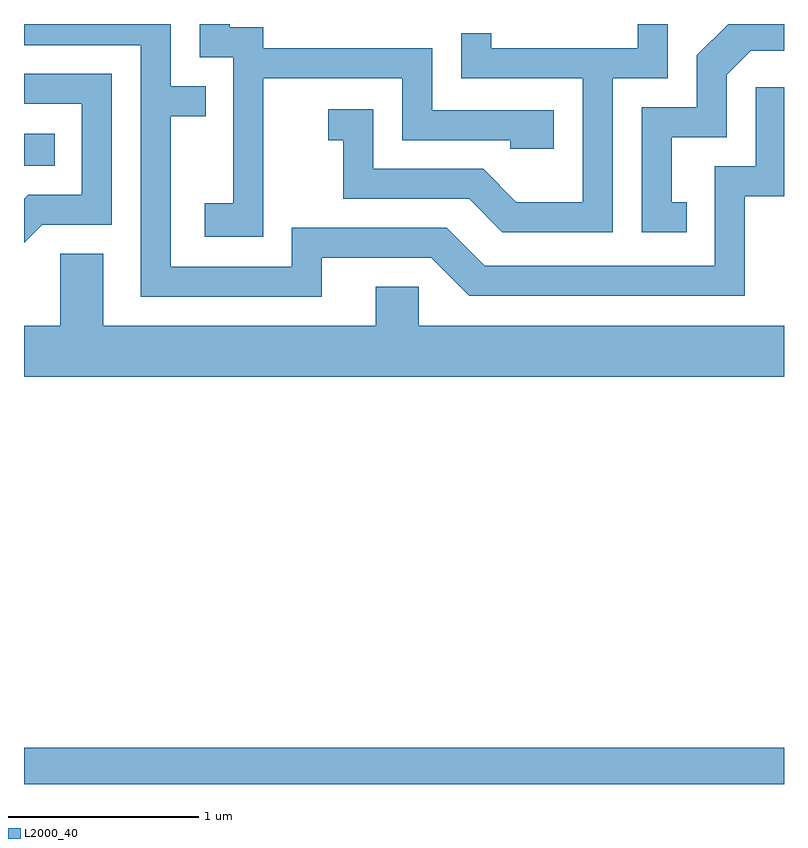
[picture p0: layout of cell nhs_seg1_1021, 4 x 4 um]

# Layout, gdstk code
import gdstk
lib = gdstk.Library(unit=1e-6, precision=1e-09)
def R(c, l, rs):  # rectangles x0, y0, x1, y1
    for r in rs: c.add(gdstk.rectangle(r[:2], r[2:], *l))
def P(c, l, *ps):  # polygons
    for p in ps: c.add(gdstk.Polygon(p, *l))
L2000_40 = (2000, 40)

nhs_seg1_1021 = lib.new_cell('nhs_seg1_1021')
R(nhs_seg1_1021, L2000_40, [(217.611,839.712,221.611,839.904), (217.611,842.966,217.773,843.134)])
P(nhs_seg1_1021, L2000_40, [(218.869,843.426),(219.601,843.426),(219.601,843.101),(220.171,843.101),(220.171,843.056),(220.399,843.056),(220.399,843.259),(219.759,843.259),(219.759,843.584),(218.869,843.584),(218.869,843.694),(218.694,843.694),(218.694,843.712),(218.536,843.712),(218.536,843.536),(218.711,843.536),(218.711,842.769),(218.561,842.769),(218.561,842.591),(218.869,842.591)],
  [(221.098,842.774),(221.019,842.774),(221.019,843.116),(221.309,843.116),(221.309,843.444),(221.437,843.571),(221.611,843.571),(221.611,843.712),(221.317,843.712),(221.151,843.547),(221.151,843.274),(220.861,843.274),(220.861,842.616),(221.098,842.616)],
  [(220.709,843.426),(220.999,843.426),(220.999,843.712),(220.841,843.712),(220.841,843.584),(220.069,843.584),(220.069,843.663),(219.911,843.663),(219.911,843.426),(220.551,843.426),(220.551,842.774),(220.202,842.774),(220.027,842.949),(219.449,842.949),(219.449,843.264),(219.213,843.264),(219.213,843.101),(219.291,843.101),(219.291,842.791),(219.954,842.791),(220.129,842.616),(220.709,842.616)],
  [(219.179,842.481),(219.754,842.481),(219.954,842.281),(221.404,842.281),(221.404,842.806),(221.611,842.806),(221.611,843.379),(221.461,843.379),(221.461,842.964),(221.246,842.964),(221.246,842.439),(220.037,842.439),(219.837,842.639),(219.021,842.639),(219.021,842.434),(218.384,842.434),(218.384,843.226),(218.568,843.226),(218.568,843.384),(218.384,843.384),(218.384,843.712),(217.611,843.712),(217.611,843.601),(218.226,843.601),(218.226,842.276),(219.179,842.276)],
  [(217.707,842.656),(218.074,842.656),(218.074,843.449),(217.611,843.449),(217.611,843.291),(217.916,843.291),(217.916,842.814),(217.634,842.814),(217.611,842.791),(217.611,842.56)],
  [(221.611,842.124),(219.689,842.124),(219.689,842.329),(219.461,842.329),(219.461,842.124),(218.029,842.124),(218.029,842.504),(217.801,842.504),(217.801,842.124),(217.611,842.124),(217.611,841.856),(221.611,841.856)])

lib.write_gds('nhs_seg1_1021.gds')
